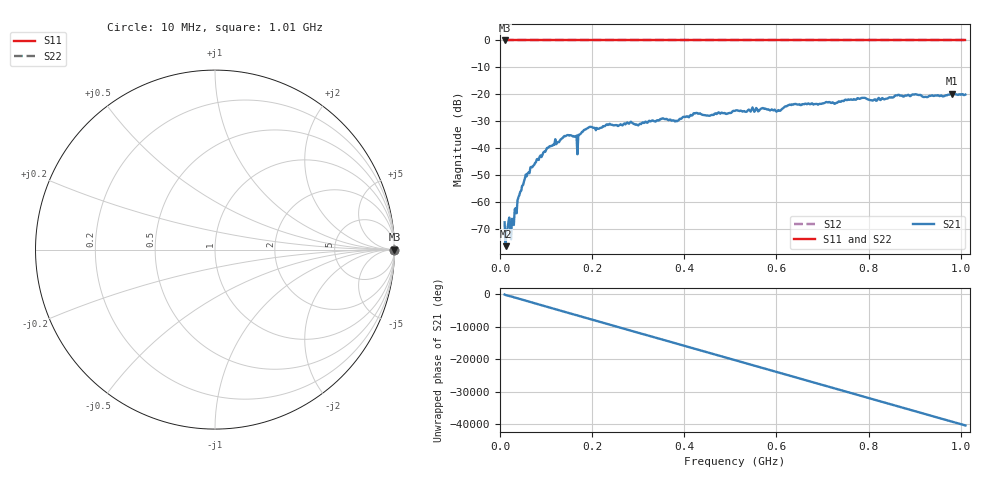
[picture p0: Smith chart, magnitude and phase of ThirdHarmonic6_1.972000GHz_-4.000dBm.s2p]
! 8/16/2025 11:43:10 PM
! C:\ANRITSUVNA\TEMP\TEMP.S2P
! CHANNEL.1
! TR.MEASUREMENT
! RAW.DATA
! RF.CORRECTION.OFF
! AVERAGING.OFF
! IF.BANDWIDTH: 5KHZ
! SWEEPTYPE:  FREQ.SWEEP(Linear)
! Reference Plane Port Info
! PORT:  PORT1  PORT2
! DISTANCE:  0  m  0  m
! TIME:  0  s  0  s
! PHASE.OFFSET:  0  deg.  0  deg.
! LOSS:  0  dB  0  dB
! REF.LOSS:  0  dB  0  dB
! REF.FREQ:  0  Hz  0  Hz
! Power Info
! POWER:  -20  dBm  -20  dBm
! EFF.POWER:  -20  dBm  -20  dBm
! SOURCE.ATTEN:  0  dB  0  dB
! TEST.ATTEN:  0  dB  0  dB
# GHZ S RI R 50.0
! FREQ.GHZ  S11RE  S11IM  S21RE  S21IM  S12RE  S12IM  S22RE  S22IM
!; PortSelection: Port_12
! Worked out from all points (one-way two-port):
!   501 points, 10 MHz to 1.01 GHz, reference 50 ohm
!   highest |S21| = -19.75 dB at 980 MHz (marker M1); lowest = -76.3 dB at 12 MHz (marker M2)
!   lowest |S11| = 0.0 dB at 10 MHz (marker M3)
!   |S11| at or under -10 dB: nowhere
!   |S22| runs from 0.0 to 0.0 dB; largest |S21 - S12| = 1.1
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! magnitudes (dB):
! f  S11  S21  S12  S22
! 10 MHz  0.0  -67.5  0.0  0.0
! 12 MHz  0.0  -76.3  0.0  0.0
! 26 MHz  0.0  -66.2  0.0  0.0
! 42 MHz  0.0  -57.4  0.0  0.0
! 52 MHz  0.0  -52.3  0.0  0.0
! 84 MHz  0.0  -44.3  0.0  0.0
! 142 MHz  0.0  -35.5  0.0  0.0
! 162 MHz  0.0  -35.7  0.0  0.0
! 164 MHz  0.0  -35.7  0.0  0.0
! 178 MHz  0.0  -33.9  0.0  0.0
! 196 MHz  0.0  -32.0  0.0  0.0
! 344 MHz  0.0  -29.7  0.0  0.0
! 382 MHz  0.0  -29.8  0.0  0.0
! 424 MHz  0.0  -27.1  0.0  0.0
! 452 MHz  0.0  -27.9  0.0  0.0
! 510 MHz  0.0  -26.1  0.0  0.0
! 604 MHz  0.0  -25.8  0.0  0.0
! 630 MHz  0.0  -23.8  0.0  0.0
! 678 MHz  0.0  -23.4  0.0  0.0
! 844 MHz  0.0  -21.2  0.0  0.0
! 980 MHz  0.0  -19.8  0.0  0.0
! 1.01 GHz  0.0  -20.1  0.0  0.0
